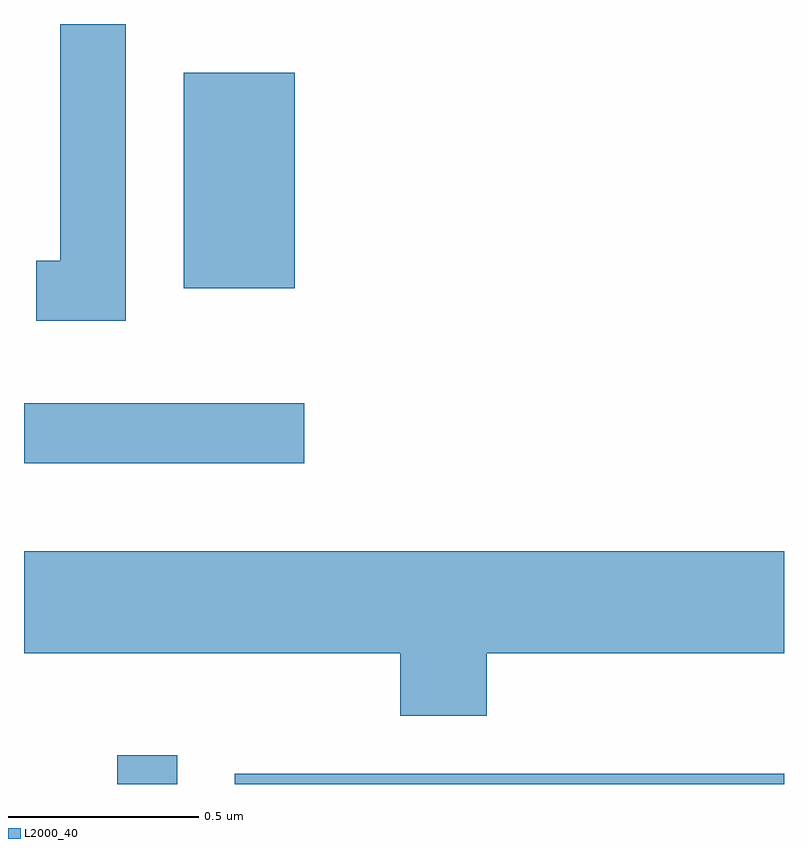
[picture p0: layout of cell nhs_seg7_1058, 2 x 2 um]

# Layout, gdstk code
import gdstk
lib = gdstk.Library(unit=1e-6, precision=1e-09)
def R(c, l, rs):  # rectangles x0, y0, x1, y1
    for r in rs: c.add(gdstk.rectangle(r[:2], r[2:], *l))
def P(c, l, *ps):  # polygons
    for p in ps: c.add(gdstk.Polygon(p, *l))
L2000_40 = (2000, 40)

nhs_seg7_1058 = lib.new_cell('nhs_seg7_1058')
R(nhs_seg7_1058, L2000_40, [(192.856,1767.252,193.014,1767.328), (193.166,1767.252,194.611,1767.279), (192.611,1768.096,193.348,1768.254), (193.031,1768.556,193.324,1769.124)])
P(nhs_seg7_1058, L2000_40, [(192.879,1769.252),(192.706,1769.252),(192.706,1768.629),(192.643,1768.629),(192.643,1768.471),(192.879,1768.471)],
  [(193.829,1767.596),(194.611,1767.596),(194.611,1767.864),(192.611,1767.864),(192.611,1767.596),(193.601,1767.596),(193.601,1767.431),(193.829,1767.431)])

lib.write_gds('nhs_seg7_1058.gds')
